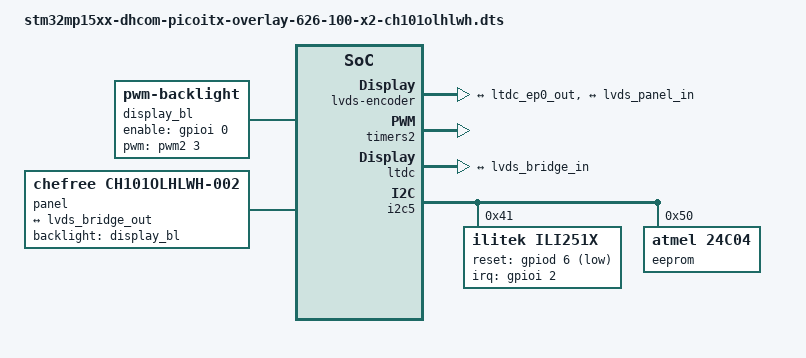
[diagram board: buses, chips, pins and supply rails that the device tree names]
// SPDX-License-Identifier: (GPL-2.0+ OR BSD-3-Clause)
/*
 * Copyright (C) 2020 Marek Vasut <marex@denx.de>
 */
#include <dt-bindings/gpio/gpio.h>
#include <dt-bindings/interrupt-controller/arm-gic.h>
#include <dt-bindings/pwm/pwm.h>

/dts-v1/;
/plugin/;

&{/} {
	#address-cells = <1>;
	#size-cells = <1>;

	display_bl: display-bl {
		compatible = "pwm-backlight";
		pwms = <&pwm2 3 5000000 0>;
		brightness-levels = <0 16 22 30 40 55 75 102 138 188 255>;
		default-brightness-level = <8>;
		enable-gpios = <&gpioi 0 GPIO_ACTIVE_HIGH>;
		status = "okay";
	};

	lvds-encoder {
		compatible = "onsemi,fin3385", "lvds-encoder";
		pixelclk-active = <0>;

		ports {
			#address-cells = <1>;
			#size-cells = <0>;

			port@0 {
				reg = <0>;

				lvds_bridge_in: endpoint {
					remote-endpoint = <&ltdc_ep0_out>;
				};
			};

			port@1 {
				reg = <1>;

				lvds_bridge_out: endpoint {
					remote-endpoint = <&lvds_panel_in>;
				};
			};
		};
	};

	panel {
		compatible = "chefree,ch101olhlwh-002";
		backlight = <&display_bl>;

		port {
			lvds_panel_in: endpoint {
				remote-endpoint = <&lvds_bridge_out>;
			};
		};
	};
};

&timers2 {
	/* spare dmas for other usage (un-delete to enable pwm capture) */
	dmas;
	dma-names;
	status = "okay";

	pwm2: pwm {
		#pwm-cells = <3>;
		pinctrl-0 = <&pwm2_pins_a>;
		pinctrl-names = "default";
		status = "okay";
	};

	timer@1 {
		status = "okay";
	};
};

&ltdc {
	pinctrl-names = "default", "sleep";
	pinctrl-0 = <&ltdc_pins_b>;
	pinctrl-1 = <&ltdc_sleep_pins_b>;
	status = "okay";

	port {
		ltdc_ep0_out: endpoint@0 {
			reg = <0>;
			remote-endpoint = <&lvds_bridge_in>;
		};
	};
};

&i2c5 {
	#address-cells = <1>;
	#size-cells = <0>;

	ili251x@41 {
		compatible = "ilitek,ili251x";
		reg = <0x41>;
		interrupt-parent = <&gpioi>;
		interrupts = <2 IRQ_TYPE_EDGE_FALLING>;
		reset-gpios = <&gpiod 6 GPIO_ACTIVE_LOW>;
		touchscreen-size-x = <16384>;
		touchscreen-size-y = <9600>;
		touchscreen-inverted-x;
		touchscreen-inverted-y;
	};

	eeprom@50 {
		compatible = "atmel,24c04";
		reg = <0x50>;
		pagesize = <16>;
	};
};
